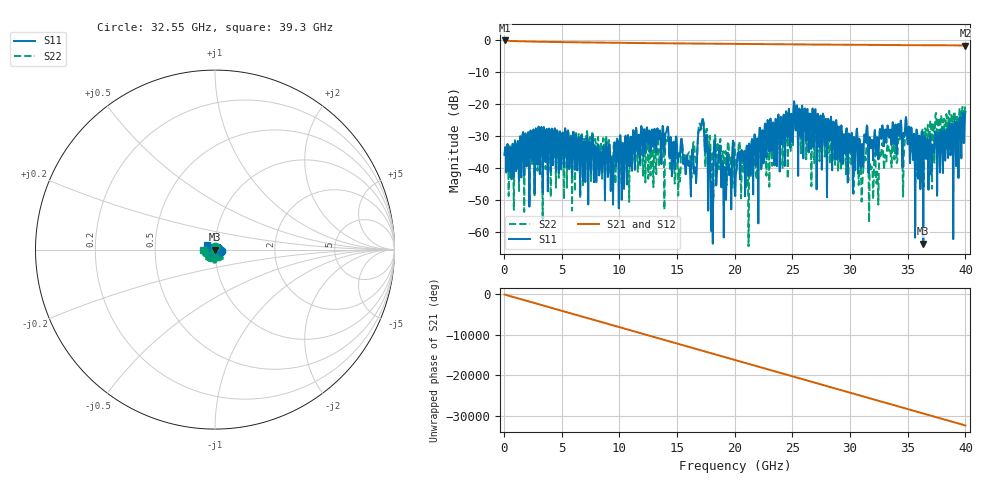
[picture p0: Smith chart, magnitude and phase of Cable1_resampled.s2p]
# MHz MA S R 50.0
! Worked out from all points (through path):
!   800 points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, 50 MHz to 40 GHz, reference 50 ohm
!   highest |S21| = -0.01 dB at 50 MHz (marker M1); lowest = -1.6 dB at 40 GHz (marker M2)
!   lowest |S11| = -63.7 dB at 36.35 GHz (marker M3), VSWR 1.00, Z = 50 - j0.0447 ohm
!   |S11| at or under -10 dB: start of sweep to end of sweep
!   |S22| runs from -64.4 to -19.9 dB; largest |S21 - S12| = 0.0022
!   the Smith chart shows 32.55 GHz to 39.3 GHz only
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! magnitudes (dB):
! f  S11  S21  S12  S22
! 50 MHz  -35.9  0.0  0.0  -35.9
! 6.75 GHz  -30.8  -0.6  -0.6  -29.4
! 9.35 GHz  -36.9  -0.7  -0.7  -35.9
! 13.4 GHz  -31.0  -0.9  -0.9  -36.1
! 16.35 GHz  -34.0  -1.0  -1.0  -34.3
! 17.1 GHz  -26.9  -1.0  -1.0  -27.7
! 17.7 GHz  -53.3  -1.0  -1.0  -44.5
! 17.9 GHz  -39.8  -1.0  -1.0  -33.3
! 18.4 GHz  -45.4  -1.0  -1.0  -36.8
! 19.05 GHz  -61.7  -1.0  -1.0  -37.7
! 20.05 GHz  -48.8  -1.1  -1.1  -36.1
! 21.2 GHz  -35.2  -1.1  -1.1  -64.4
! 25.3 GHz  -28.2  -1.2  -1.2  -27.4
! 26.7 GHz  -23.5  -1.3  -1.3  -27.4
! 30.55 GHz  -28.3  -1.4  -1.4  -35.0
! 30.95 GHz  -39.9  -1.4  -1.4  -40.8
! 31.4 GHz  -28.8  -1.4  -1.4  -34.0
! 31.85 GHz  -33.2  -1.4  -1.4  -40.3
! 33.35 GHz  -30.0  -1.4  -1.4  -34.2
! 36.35 GHz  -63.7  -1.5  -1.5  -30.9
! 39.15 GHz  -31.7  -1.5  -1.5  -29.2
! 40 GHz  -22.4  -1.6  -1.6  -20.4
